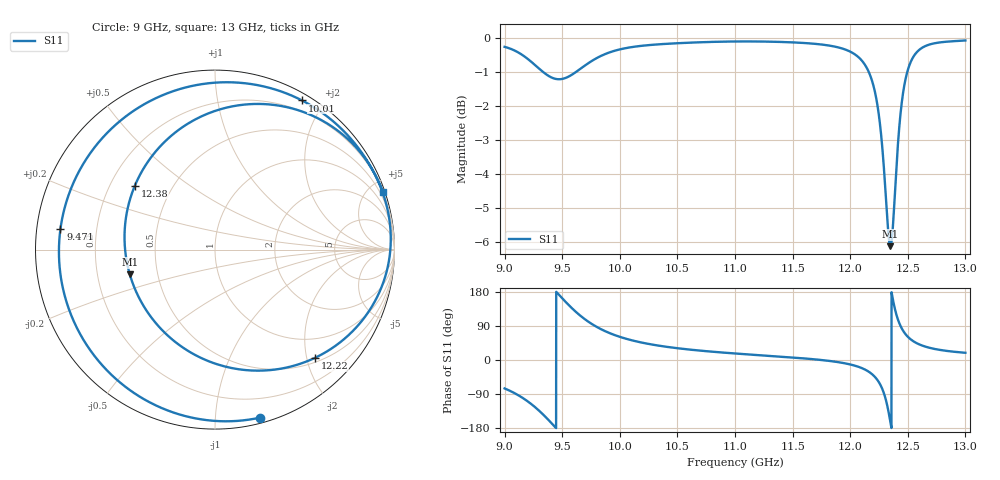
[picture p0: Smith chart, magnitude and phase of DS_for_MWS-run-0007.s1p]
! TOUCHSTONE file generated by CST DESIGN STUDIO
! Date and time: Tue Feb  4 12:51:35 2025
! Project name: C:\Work\MatlabApps\UnitCellOptimizationMatlab\CST\unitcell.cst
! Tree item: Tasks\Sweep1\SPara1\S-Parameters
! Header version: 2024
! Port assignment regex: !\s*Touchstone port\s*([0-9]+)\s*=\s*(CST MWS port|CST DES external port|CST DES block port)\s*(.+)\s* \(\"(.*)\"\)(\s*mode\s*([0-9]+))?.*
! Touchstone port assignment:
! Touchstone port 1 = CST DES external port 1 ("")
# GHz S MA R 50
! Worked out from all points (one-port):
!   4001 points, 9 GHz to 13 GHz, reference 50 ohm
!   lowest |S11| = -6.1 dB at 12.35 GHz (marker M1), VSWR 2.96, Z = 17.2 - j6.27 ohm
!   |S11| at or under -10 dB: nowhere
!   S11 on the Smith chart (normalised r, x): 9 GHz: 0.04, -1.30; 9.471 GHz: 0.07, +0.07; 10.01 GHz: 0.08, +1.74; 12.22 GHz: 0.58, -2.16; 12.38 GHz: 0.30, +0.32; 13 GHz: 0.18, +5.95
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9  0.9691 -75.0
9.138  0.9467 -96.5
9.246  0.917 -119.8
9.372  0.8807 -155.4
9.471  0.8687 172.4
9.5  0.8697 162.9
9.605  0.8869 130.8
9.707  0.9124 105.3
9.852  0.9426 79.1
10  0.9609 61.1
10.014  0.9621 59.8
10.221  0.9738 44.1
10.5  0.9811 31.1
11  0.9869 17.2
11.5  0.9839 6.6
12  0.9537 -11.7
12.137  0.907 -26.6
12.222  0.8213 -47.2
12.295  0.6354 -89.9
12.321  0.545 -119.4
12.349  0.4944 -163.9
12.383  0.5711 141.4
12.407  0.6688 113.6
12.432  0.7586 93.1
12.5  0.896 61.4
12.567  0.947 46.1
12.658  0.9727 34.8
13  0.9903 19.1
